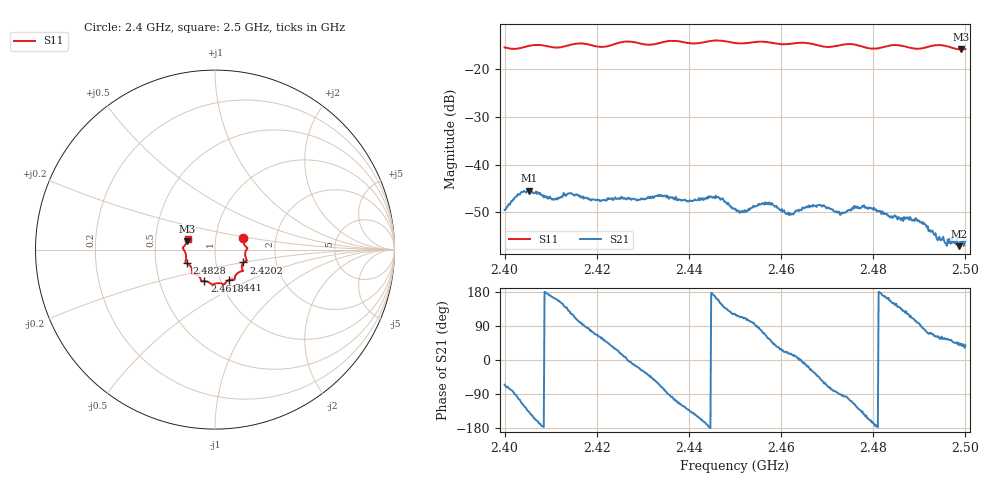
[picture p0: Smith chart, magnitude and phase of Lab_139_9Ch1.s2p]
# Hz S RI R 50
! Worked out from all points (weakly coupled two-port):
!   601 points, 2.4 GHz to 2.5 GHz, reference 50 ohm
!   highest |S21| = -45.42 dB at 2.4053 GHz (marker M1); lowest = -57.1 dB at 2.4987 GHz (marker M2)
!   lowest |S11| = -15.8 dB at 2.499 GHz (marker M3), VSWR 1.39, Z = 36.4 + j3.47 ohm
!   |S11| at or under -10 dB: start of sweep to end of sweep
!   S12 and S22 are empty: the file has one direction only
!   S11 on the Smith chart (normalised r, x): 2.4 GHz: 1.36, +0.18; 2.4202 GHz: 1.36, -0.20; 2.441 GHz: 1.10, -0.39; 2.4618 GHz: 0.84, -0.30; 2.4828 GHz: 0.72, -0.11; 2.5 GHz: 0.73, +0.09
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2.4e9  0.1584 0.0625  0.0014 -0.00305  0 0  0 0
2.403333e9  0.1654 0.0248  -0.00131 -0.0047  0 0  0 0
2.405333e9  0.1765 0.0126  -0.00395 -0.00362  0 0  0 0
2.4105e9  0.1703 -0.0111  -0.00424 0.00112  0 0  0 0
2.416667e9  0.1774 -0.0606  -0.000648 0.00447  0 0  0 0
2.420167e9  0.1584 -0.0713  0.00172 0.00395  0 0  0 0
2.433333e9  0.1116 -0.1508  0.00228 -0.00425  0 0  0 0
2.441e9  0.0785 -0.17  -0.00322 -0.00274  0 0  0 0
2.446167e9  0.0499 -0.1951  -0.00428 0.00162  0 0  0 0
2.45e9  0.0282 -0.1872  -0.0018 0.00297  0 0  0 0
2.457e9  -0.0197 -0.1926  0.00203 0.00331  0 0  0 0
2.461833e9  -0.0593 -0.1757  0.003 0.00085  0 0  0 0
2.466667e9  -0.0787 -0.1682  0.00323 -0.00172  0 0  0 0
2.473333e9  -0.122 -0.1348  -0.000111 -0.00315  0 0  0 0
2.478e9  -0.127 -0.1157  -0.00297 -0.0023  0 0  0 0
2.482833e9  -0.1572 -0.0768  -0.00292 0.00077  0 0  0 0
2.483333e9  -0.1604 -0.0754  -0.00282 0.000806  0 0  0 0
2.489667e9  -0.1623 -0.028  -0.000354 0.00253  0 0  0 0
2.494333e9  -0.1799 0.01  0.000967 0.00147  0 0  0 0
2.498667e9  -0.157 0.042  0.00108 0.000882  0 0  0 0
2.499e9  -0.1552 0.0464  0.0011 0.00103  0 0  0 0
2.5e9  -0.1521 0.0607  0.00125 0.000979  0 0  0 0
